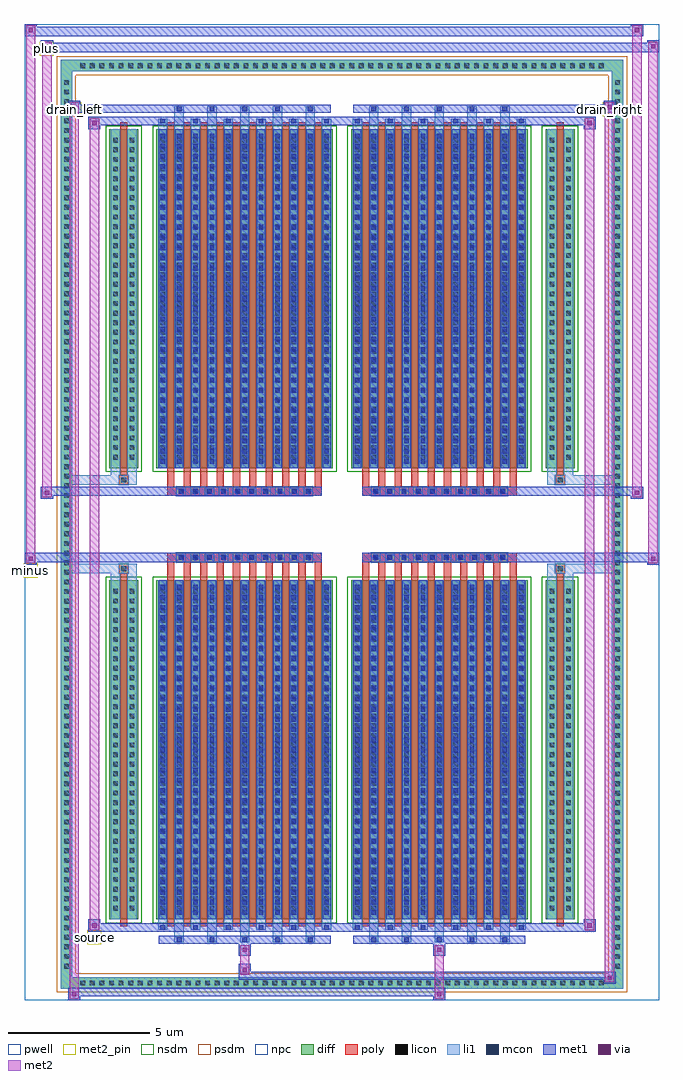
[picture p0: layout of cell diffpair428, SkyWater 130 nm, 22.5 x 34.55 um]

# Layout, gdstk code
import gdstk
lib = gdstk.Library(unit=1e-6, precision=5e-09)
def R(c, l, rs):  # rectangles x0, y0, x1, y1
    for r in rs: c.add(gdstk.rectangle(r[:2], r[2:], *l))
def A(c, l, x, y, w, h, nx, ny, dx, dy):  # array of equal rectangles
    R(c, l, [(x+i*dx, y+j*dy, x+i*dx+w, y+j*dy+h) for i in range(nx) for j in range(ny)])
def P(c, l, *ps):  # polygons
    for p in ps: c.add(gdstk.Polygon(p, *l))
pwell = (64, 44)
diff = (65, 20)
poly = (66, 20)
licon = (66, 44)
li1 = (67, 20)
mcon = (67, 44)
met1 = (68, 20)
via = (68, 44)
met2_pin = (69, 16)
met2 = (69, 20)
nsdm = (93, 44)
psdm = (94, 20)
npc = (95, 20)

diffpair428 = lib.new_cell('diffpair428')
R(diffpair428, pwell, [(-11.23,-16.84,11.23,17.71), (-8.55,-15.03,-0.01,-0.805), (0.01,-15.03,8.55,-0.805), (-8.55,0.805,-0.01,15.03), (0.01,0.805,8.55,15.03)])
A(diffpair428, diff, -9.385, -16.44, 0.41, 0.41, 55, 2, 0.34, 32.47)
A(diffpair428, diff, -9.96, -15.845, 0.41, 0.41, 1, 93, 0, 0.34)
A(diffpair428, diff, 9.55, -15.845, 0.41, 0.41, 1, 93, 0, 0.34)
R(diffpair428, diff, [(-9.385,-16.44,9.385,-16.03), (-9.96,-15.845,-9.55,15.845), (9.55,-15.845,9.96,15.845), (-8.24,-13.985,-7.21,-1.985), (-6.57,-13.985,-0.32,-1.985), (0.32,-13.985,6.57,-1.985), (7.21,-13.985,8.24,-1.985), (-8.24,1.985,-7.21,13.985), (-6.57,1.985,-0.32,13.985), (0.32,1.985,6.57,13.985), (7.21,1.985,8.24,13.985), (-9.385,16.03,9.385,16.44)])
P(diffpair428, diff, [(9.96,16.44),(-9.96,16.44),(-9.96,-16.03),(-9.55,-16.03),(-9.55,16.03),(9.55,16.03),(9.55,-16.03),(-9.55,-16.03),(-9.96,-16.03),(-9.96,-16.44),(9.96,-16.44)])
A(diffpair428, poly, -6.18, -14.235, 0.25, 12.5, 10, 2, 0.58, 15.97)
A(diffpair428, poly, 0.71, -14.235, 0.25, 12.5, 10, 2, 0.58, 15.97)
A(diffpair428, poly, -6.18, -1.735, 0.25, 0.4, 10, 2, 0.58, 3.07)
A(diffpair428, poly, 0.71, -1.735, 0.25, 0.4, 10, 2, 0.58, 3.07)
A(diffpair428, poly, -5.86, -1.335, 0.33, 0.33, 10, 2, 0.5, 2.34)
A(diffpair428, poly, 1.03, -1.335, 0.33, 0.33, 10, 2, 0.5, 2.34)
R(diffpair428, poly, [(-7.85,-14.235,-7.6,-1.735), (7.6,-14.235,7.85,-1.735), (-7.89,-1.735,-7.56,-1.405), (-7.89,-1.735,-7.56,-1.405), (7.56,-1.735,7.89,-1.405), (7.56,-1.735,7.89,-1.405), (-6.18,-1.335,-0.71,-1.005), (0.71,-1.335,6.18,-1.005), (-6.18,1.005,-0.71,1.335), (0.71,1.005,6.18,1.335), (-7.89,1.405,-7.56,1.735), (-7.89,1.405,-7.56,1.735), (7.56,1.405,7.89,1.735), (7.56,1.405,7.89,1.735), (-7.85,1.735,-7.6,14.235), (7.6,1.735,7.85,14.235)])
A(diffpair428, licon, -9.265, -16.32, 0.17, 0.17, 55, 2, 0.34, 32.47)
A(diffpair428, licon, -9.84, -15.725, 0.17, 0.17, 1, 93, 0, 0.34)
A(diffpair428, licon, 9.67, -15.725, 0.17, 0.17, 1, 93, 0, 0.34)
A(diffpair428, licon, -8.1, -13.68, 0.17, 0.17, 1, 34, 0, 0.34)
A(diffpair428, licon, -7.52, -13.68, 0.17, 0.17, 1, 34, 0, 0.34)
A(diffpair428, licon, -6.43, -13.68, 0.17, 0.17, 11, 34, 0.58, 0.34)
A(diffpair428, licon, 0.46, -13.68, 0.17, 0.17, 11, 34, 0.58, 0.34)
A(diffpair428, licon, 7.35, -13.68, 0.17, 0.17, 1, 34, 0, 0.34)
A(diffpair428, licon, 7.93, -13.68, 0.17, 0.17, 1, 34, 0, 0.34)
A(diffpair428, licon, -5.78, -1.255, 0.17, 0.17, 10, 2, 0.5, 2.34)
A(diffpair428, licon, 1.11, -1.255, 0.17, 0.17, 10, 2, 0.5, 2.34)
A(diffpair428, licon, -8.1, 2.29, 0.17, 0.17, 1, 34, 0, 0.34)
A(diffpair428, licon, -7.52, 2.29, 0.17, 0.17, 1, 34, 0, 0.34)
A(diffpair428, licon, -6.43, 2.29, 0.17, 0.17, 11, 34, 0.58, 0.34)
A(diffpair428, licon, 0.46, 2.29, 0.17, 0.17, 11, 34, 0.58, 0.34)
A(diffpair428, licon, 7.35, 2.29, 0.17, 0.17, 1, 34, 0, 0.34)
A(diffpair428, licon, 7.93, 2.29, 0.17, 0.17, 1, 34, 0, 0.34)
R(diffpair428, licon, [(-7.81,-1.655,-7.64,-1.485), (7.64,-1.655,7.81,-1.485), (-7.81,1.485,-7.64,1.655), (7.64,1.485,7.81,1.655)])
A(diffpair428, li1, -9.345, -16.4, 0.33, 0.33, 55, 2, 0.34, 32.47)
A(diffpair428, li1, -9.92, -15.805, 0.33, 0.33, 1, 93, 0, 0.34)
A(diffpair428, li1, 9.59, -15.805, 0.33, 0.33, 1, 93, 0, 0.34)
A(diffpair428, li1, -5.93, -14.79, 0.33, 0.805, 5, 2, 1.16, 28.775)
A(diffpair428, li1, -5.85, -14.79, 0.17, 0.17, 5, 2, 1.16, 29.41)
A(diffpair428, li1, 0.96, -14.79, 0.33, 0.805, 5, 2, 1.16, 28.775)
A(diffpair428, li1, 1.04, -14.79, 0.17, 0.17, 5, 2, 1.16, 29.41)
A(diffpair428, li1, -6.51, -14.36, 0.33, 0.375, 6, 2, 1.16, 28.345)
A(diffpair428, li1, -6.43, -14.36, 0.17, 0.17, 6, 2, 1.16, 28.55)
A(diffpair428, li1, 0.38, -14.36, 0.33, 0.375, 6, 2, 1.16, 28.345)
A(diffpair428, li1, 0.46, -14.36, 0.17, 0.17, 6, 2, 1.16, 28.55)
A(diffpair428, li1, -6.51, -13.985, 0.33, 12, 11, 2, 0.58, 15.97)
A(diffpair428, li1, 0.38, -13.985, 0.33, 12, 11, 2, 0.58, 15.97)
A(diffpair428, li1, -6.43, -13.83, 0.17, 0.17, 11, 33, 0.58, 0.36)
A(diffpair428, li1, -6.43, -13.83, 0.17, 11.69, 11, 2, 0.58, 15.97)
A(diffpair428, li1, 0.46, -13.83, 0.17, 0.17, 11, 33, 0.58, 0.36)
A(diffpair428, li1, 0.46, -13.83, 0.17, 11.69, 11, 2, 0.58, 15.97)
A(diffpair428, li1, -8.18, -13.76, 0.33, 0.33, 1, 34, 0, 0.34)
A(diffpair428, li1, -7.6, -13.76, 0.33, 0.33, 1, 34, 0, 0.34)
A(diffpair428, li1, -6.51, -13.76, 0.33, 0.33, 11, 34, 0.58, 0.34)
A(diffpair428, li1, 0.38, -13.76, 0.33, 0.33, 11, 34, 0.58, 0.34)
A(diffpair428, li1, 7.27, -13.76, 0.33, 0.33, 1, 34, 0, 0.34)
A(diffpair428, li1, 7.85, -13.76, 0.33, 0.33, 1, 34, 0, 0.34)
A(diffpair428, li1, -5.86, -1.335, 0.33, 0.33, 10, 2, 0.5, 2.34)
A(diffpair428, li1, 1.03, -1.335, 0.33, 0.33, 10, 2, 0.5, 2.34)
A(diffpair428, li1, -6.43, 2.14, 0.17, 0.17, 11, 33, 0.58, 0.36)
A(diffpair428, li1, 0.46, 2.14, 0.17, 0.17, 11, 33, 0.58, 0.36)
A(diffpair428, li1, -8.18, 2.21, 0.33, 0.33, 1, 34, 0, 0.34)
A(diffpair428, li1, -7.6, 2.21, 0.33, 0.33, 1, 34, 0, 0.34)
A(diffpair428, li1, -6.51, 2.21, 0.33, 0.33, 11, 34, 0.58, 0.34)
A(diffpair428, li1, 0.38, 2.21, 0.33, 0.33, 11, 34, 0.58, 0.34)
A(diffpair428, li1, 7.27, 2.21, 0.33, 0.33, 1, 34, 0, 0.34)
A(diffpair428, li1, 7.85, 2.21, 0.33, 0.33, 1, 34, 0, 0.34)
R(diffpair428, li1, [(-9.96,-16.44,-9.55,-16.03), (-9.96,-16.44,-9.55,-16.03), (-9.55,-16.44,9.55,-16.03), (9.55,-16.44,9.96,-16.03), (9.55,-16.44,9.96,-16.03), (-9.96,-16.03,-9.55,16.03), (9.55,-16.03,9.96,16.03), (-8.18,-13.985,-7.85,-1.985), (-7.6,-13.985,-7.27,-1.985), (7.27,-13.985,7.6,-1.985), (7.85,-13.985,8.18,-1.985), (-8.18,-1.985,-7.85,-1.405), (-7.6,-1.985,-7.27,-1.405), (7.27,-1.985,7.6,-1.405), (7.85,-1.985,8.18,-1.405), (-9.96,-1.735,-7.89,-1.405), (-8.18,-1.735,-7.89,-1.405), (-7.89,-1.735,-7.56,-1.405), (-7.56,-1.735,-7.27,-1.405), (7.27,-1.735,7.56,-1.405), (7.56,-1.735,7.89,-1.405), (7.56,-1.735,9.96,-1.405), (7.89,-1.735,8.18,-1.405), (-9.96,1.405,-7.89,1.735), (-8.18,1.405,-7.89,1.735), (-8.18,1.405,-7.85,1.985), (-7.89,1.405,-7.56,1.735), (-7.6,1.405,-7.27,1.985), (-7.56,1.405,-7.27,1.735), (7.27,1.405,7.56,1.735), (7.27,1.405,7.6,1.985), (7.56,1.405,7.89,1.735), (7.56,1.405,9.96,1.735), (7.85,1.405,8.18,1.985), (7.89,1.405,8.18,1.735), (-8.18,1.985,-7.85,13.985), (-7.6,1.985,-7.27,13.985), (7.27,1.985,7.6,13.985), (7.85,1.985,8.18,13.985), (-9.96,16.03,-9.55,16.44), (-9.96,16.03,-9.55,16.44), (-9.55,16.03,9.55,16.44), (9.55,16.03,9.96,16.44), (9.55,16.03,9.96,16.44)])
A(diffpair428, mcon, -5.85, -14.79, 0.17, 0.17, 5, 2, 1.16, 29.41)
A(diffpair428, mcon, 1.04, -14.79, 0.17, 0.17, 5, 2, 1.16, 29.41)
A(diffpair428, mcon, -6.43, -14.36, 0.17, 0.17, 6, 2, 1.16, 28.55)
A(diffpair428, mcon, 0.46, -14.36, 0.17, 0.17, 6, 2, 1.16, 28.55)
A(diffpair428, mcon, -6.43, -13.83, 0.17, 0.17, 11, 33, 0.58, 0.36)
A(diffpair428, mcon, 0.46, -13.83, 0.17, 0.17, 11, 33, 0.58, 0.36)
A(diffpair428, mcon, -5.78, -1.255, 0.17, 0.17, 10, 2, 0.5, 2.34)
A(diffpair428, mcon, 1.11, -1.255, 0.17, 0.17, 10, 2, 0.5, 2.34)
A(diffpair428, mcon, -6.43, 2.14, 0.17, 0.17, 11, 33, 0.58, 0.36)
A(diffpair428, mcon, 0.46, 2.14, 0.17, 0.17, 11, 33, 0.58, 0.36)
A(diffpair428, met1, -5.91, -14.85, 0.29, 0.29, 5, 2, 1.16, 29.41)
A(diffpair428, met1, 0.98, -14.85, 0.29, 0.29, 5, 2, 1.16, 29.41)
A(diffpair428, met1, -6.49, -14.42, 0.29, 0.29, 6, 2, 1.16, 28.55)
A(diffpair428, met1, 0.4, -14.42, 0.29, 0.29, 6, 2, 1.16, 28.55)
A(diffpair428, met1, -6.49, -13.985, 0.29, 12, 11, 2, 0.58, 15.97)
A(diffpair428, met1, 0.4, -13.985, 0.29, 12, 11, 2, 0.58, 15.97)
A(diffpair428, met1, -6.49, -13.89, 0.29, 0.29, 11, 33, 0.58, 0.36)
A(diffpair428, met1, 0.4, -13.89, 0.29, 0.29, 11, 33, 0.58, 0.36)
A(diffpair428, met1, -5.84, -1.315, 0.29, 0.29, 10, 2, 0.5, 2.34)
A(diffpair428, met1, 1.05, -1.315, 0.29, 0.29, 10, 2, 0.5, 2.34)
A(diffpair428, met1, -6.49, 2.08, 0.29, 0.29, 11, 33, 0.58, 0.36)
A(diffpair428, met1, 0.4, 2.08, 0.29, 0.29, 11, 33, 0.58, 0.36)
R(diffpair428, met1, [(-9.69,-16.84,-9.26,-16.41), (3.23,-16.84,3.66,-16.41), (-9.69,-16.7,3.66,-16.41), (9.26,-16.27,9.69,-15.84), (-3.66,-16.13,9.69,-15.84), (-3.66,-15.99,-3.23,-15.56), (-3.66,-15.28,-3.23,-14.85), (3.23,-15.28,3.66,-14.85), (-6.49,-14.85,-0.4,-14.56), (0.4,-14.85,6.49,-14.56), (-8.98,-14.42,-8.55,-13.99), (-8.98,-14.42,-6.49,-14.13), (-6.49,-14.42,-0.4,-14.13), (-0.4,-14.42,0.4,-14.13), (0.4,-14.42,6.49,-14.13), (6.49,-14.42,8.98,-14.13), (8.55,-14.42,8.98,-13.99), (-11.23,-1.435,-10.8,-1.005), (10.8,-1.435,11.23,-1.005), (-11.23,-1.335,-0.71,-1.005), (-6.18,-1.335,-0.71,-1.005), (0.71,-1.335,6.18,-1.005), (0.71,-1.335,11.23,-1.005), (-10.66,0.905,-10.23,1.335), (10.23,0.905,10.66,1.335), (-10.66,1.005,-6.18,1.335), (-6.18,1.005,-0.71,1.335), (0.71,1.005,6.18,1.335), (6.18,1.005,10.66,1.335), (-8.98,13.99,-8.55,14.42), (8.55,13.99,8.98,14.42), (-8.98,14.13,-6.49,14.42), (-6.49,14.13,-0.4,14.42), (-0.4,14.13,0.4,14.42), (0.4,14.13,6.49,14.42), (6.49,14.13,8.98,14.42), (-9.69,14.56,-9.26,14.99), (-9.69,14.56,-6.49,14.85), (-6.49,14.56,-0.4,14.85), (0.4,14.56,6.49,14.85), (6.49,14.56,9.69,14.85), (9.26,14.56,9.69,14.99), (-10.66,16.71,-10.23,17.14), (-10.66,16.71,-8.55,17.04), (-8.55,16.71,8.55,17.04), (8.55,16.71,11.23,17.04), (10.8,16.71,11.23,17.14), (-11.23,17.28,-10.8,17.71), (-11.23,17.28,-8.55,17.61), (-8.55,17.28,8.55,17.61), (8.55,17.28,10.66,17.61), (10.23,17.28,10.66,17.71)])
R(diffpair428, via, [(-9.55,-16.7,-9.4,-16.55), (3.37,-16.7,3.52,-16.55), (9.4,-16.13,9.55,-15.98), (-3.52,-15.85,-3.37,-15.7), (-3.52,-15.14,-3.37,-14.99), (3.37,-15.14,3.52,-14.99), (-8.84,-14.28,-8.69,-14.13), (8.69,-14.28,8.84,-14.13), (-11.09,-1.295,-10.94,-1.145), (10.94,-1.295,11.09,-1.145), (-10.52,1.045,-10.37,1.195), (10.37,1.045,10.52,1.195), (-8.84,14.13,-8.69,14.28), (8.69,14.13,8.84,14.28), (-9.55,14.7,-9.4,14.85), (9.4,14.7,9.55,14.85), (-10.52,16.85,-10.37,17), (10.94,16.85,11.09,17), (-11.09,17.42,-10.94,17.57), (10.37,17.42,10.52,17.57)])
R(diffpair428, met2_pin, [(-9.015,-14.87,-8.515,-14.37), (-11.265,-1.885,-10.765,-1.385), (-9.725,14.44,-9.225,14.94), (9.225,14.44,9.725,14.94), (-10.695,16.59,-10.195,17.09)])
R(diffpair428, met2, [(-9.64,-16.79,-9.31,-16.46), (-9.64,-16.79,-9.31,14.94), (3.28,-16.79,3.61,-16.46), (3.28,-16.46,3.61,-15.23), (9.31,-16.22,9.64,-15.89), (9.31,-16.22,9.64,14.94), (-3.61,-15.94,-3.28,-15.61), (-3.61,-15.61,-3.28,-15.23), (-3.61,-15.23,-3.28,-14.9), (3.28,-15.23,3.61,-14.9), (-8.93,-14.37,-8.6,-14.04), (-8.93,-14.37,-8.6,14.37), (8.6,-14.37,8.93,-14.04), (8.6,-14.37,8.93,14.37), (-11.18,-1.385,-10.85,-1.055), (-11.18,-1.385,-10.85,17.66), (10.85,-1.385,11.18,-1.055), (10.85,-1.385,11.18,17.09), (-10.61,0.955,-10.28,1.285), (-10.61,0.955,-10.28,17.09), (10.28,0.955,10.61,1.285), (10.28,0.955,10.61,17.66), (-8.93,14.04,-8.6,14.37), (8.6,14.04,8.93,14.37), (-9.64,14.61,-9.31,14.94), (9.31,14.61,9.64,14.94), (-10.61,16.76,-10.28,17.09), (10.85,16.76,11.18,17.09), (-11.18,17.33,-10.85,17.66), (10.28,17.33,10.61,17.66)])
P(diffpair428, met2, [(11.18,-1.385),(11.18,-1.385),(11.18,-1.055),(11.18,-1.055)],
  [(11.18,16.76),(11.18,16.76),(11.18,17.09),(11.18,17.09)],
  [(-10.85,-1.385),(-10.85,-1.385),(-10.85,-1.055),(-10.85,-1.055)],
  [(-10.85,17.33),(-10.85,17.33),(-10.85,17.66),(-10.85,17.66)],
  [(10.61,0.955),(10.61,0.955),(10.61,1.285),(10.61,1.285)],
  [(10.61,17.33),(10.61,17.33),(10.61,17.66),(10.61,17.66)],
  [(-10.28,0.955),(-10.28,0.955),(-10.28,1.285),(-10.28,1.285)],
  [(-10.28,16.76),(-10.28,16.76),(-10.28,17.09),(-10.28,17.09)],
  [(-9.31,-16.79),(-9.31,-16.79),(-9.31,-16.46),(-9.31,-16.46)],
  [(-9.31,14.61),(-9.31,14.61),(-9.31,14.94),(-9.31,14.94)],
  [(9.64,-16.22),(9.64,-16.22),(9.64,-15.89),(9.64,-15.89)],
  [(9.64,14.61),(9.64,14.61),(9.64,14.94),(9.64,14.94)],
  [(-8.6,-14.37),(-8.6,-14.37),(-8.6,-14.04),(-8.6,-14.04)],
  [(-8.6,14.04),(-8.6,14.04),(-8.6,14.37),(-8.6,14.37)],
  [(8.93,-14.37),(8.93,-14.37),(8.93,-14.04),(8.93,-14.04)],
  [(8.93,14.04),(8.93,14.04),(8.93,14.37),(8.93,14.37)])
R(diffpair428, nsdm, [(-8.37,-14.115,-7.08,-1.855), (-6.7,-14.115,-0.19,-1.855), (0.19,-14.115,6.7,-1.855), (7.08,-14.115,8.37,-1.855), (-8.37,1.855,-7.08,14.115), (-6.7,1.855,-0.19,14.115), (0.19,1.855,6.7,14.115), (7.08,1.855,8.37,14.115)])
P(diffpair428, psdm, [(10.09,16.57),(-10.09,16.57),(-10.09,-15.9),(-9.42,-15.9),(-9.42,15.9),(9.42,15.9),(9.42,-15.9),(-9.42,-15.9),(-10.09,-15.9),(-10.09,-16.57),(10.09,-16.57)])
A(diffpair428, npc, -5.88, -1.355, 0.37, 0.37, 10, 2, 0.5, 2.34)
A(diffpair428, npc, 1.01, -1.355, 0.37, 0.37, 10, 2, 0.5, 2.34)
R(diffpair428, npc, [(-7.91,-1.755,-7.54,-1.385), (7.54,-1.755,7.91,-1.385), (-5.88,-1.355,-5.01,-0.985), (-5.88,-1.355,-5.01,-0.985), (-5.38,-1.355,-4.51,-0.985), (-5.38,-1.355,-4.51,-0.985), (-4.88,-1.355,-4.01,-0.985), (-4.88,-1.355,-4.01,-0.985), (-4.38,-1.355,-3.51,-0.985), (-4.38,-1.355,-3.51,-0.985), (-3.88,-1.355,-3.01,-0.985), (-3.88,-1.355,-3.01,-0.985), (-3.38,-1.355,-2.51,-0.985), (-3.38,-1.355,-2.51,-0.985), (-2.88,-1.355,-2.01,-0.985), (-2.88,-1.355,-2.01,-0.985), (-2.38,-1.355,-1.51,-0.985), (-2.38,-1.355,-1.51,-0.985), (-1.88,-1.355,-1.01,-0.985), (-1.88,-1.355,-1.01,-0.985), (1.01,-1.355,1.88,-0.985), (1.01,-1.355,1.88,-0.985), (1.51,-1.355,2.38,-0.985), (1.51,-1.355,2.38,-0.985), (2.01,-1.355,2.88,-0.985), (2.01,-1.355,2.88,-0.985), (2.51,-1.355,3.38,-0.985), (2.51,-1.355,3.38,-0.985), (3.01,-1.355,3.88,-0.985), (3.01,-1.355,3.88,-0.985), (3.51,-1.355,4.38,-0.985), (3.51,-1.355,4.38,-0.985), (4.01,-1.355,4.88,-0.985), (4.01,-1.355,4.88,-0.985), (4.51,-1.355,5.38,-0.985), (4.51,-1.355,5.38,-0.985), (5.01,-1.355,5.88,-0.985), (5.01,-1.355,5.88,-0.985), (-5.88,0.985,-5.01,1.355), (-5.88,0.985,-5.01,1.355), (-5.38,0.985,-4.51,1.355), (-5.38,0.985,-4.51,1.355), (-4.88,0.985,-4.01,1.355), (-4.88,0.985,-4.01,1.355), (-4.38,0.985,-3.51,1.355), (-4.38,0.985,-3.51,1.355), (-3.88,0.985,-3.01,1.355), (-3.88,0.985,-3.01,1.355), (-3.38,0.985,-2.51,1.355), (-3.38,0.985,-2.51,1.355), (-2.88,0.985,-2.01,1.355), (-2.88,0.985,-2.01,1.355), (-2.38,0.985,-1.51,1.355), (-2.38,0.985,-1.51,1.355), (-1.88,0.985,-1.01,1.355), (-1.88,0.985,-1.01,1.355), (1.01,0.985,1.88,1.355), (1.01,0.985,1.88,1.355), (1.51,0.985,2.38,1.355), (1.51,0.985,2.38,1.355), (2.01,0.985,2.88,1.355), (2.01,0.985,2.88,1.355), (2.51,0.985,3.38,1.355), (2.51,0.985,3.38,1.355), (3.01,0.985,3.88,1.355), (3.01,0.985,3.88,1.355), (3.51,0.985,4.38,1.355), (3.51,0.985,4.38,1.355), (4.01,0.985,4.88,1.355), (4.01,0.985,4.88,1.355), (4.51,0.985,5.38,1.355), (4.51,0.985,5.38,1.355), (5.01,0.985,5.88,1.355), (5.01,0.985,5.88,1.355), (-7.91,1.385,-7.54,1.755), (7.54,1.385,7.91,1.755)])
diffpair428.add(gdstk.Label('minus', (-11.015,-1.635), layer=69, texttype=5))
diffpair428.add(gdstk.Label('drain_right', (9.475,14.69), layer=69, texttype=5))
diffpair428.add(gdstk.Label('drain_left', (-9.475,14.69), layer=69, texttype=5))
diffpair428.add(gdstk.Label('source', (-8.765,-14.62), layer=69, texttype=5))
diffpair428.add(gdstk.Label('plus', (-10.445,16.84), layer=69, texttype=5))

lib.write_gds('diffpair428.gds')
